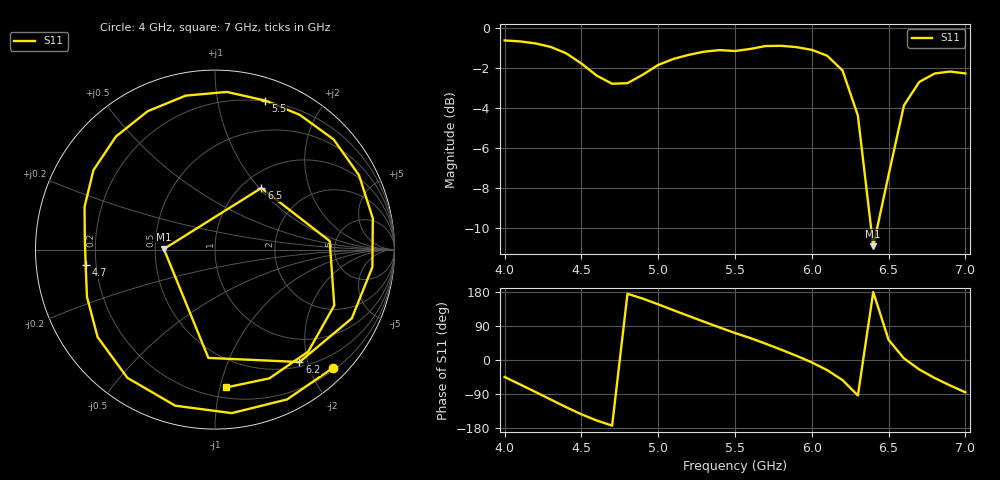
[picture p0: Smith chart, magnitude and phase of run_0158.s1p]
! Touchstone file exported from HFSS 2024.2.0
!  File:  C:/Users/wsak9/Desktop/Sim Fast/Widenad Patch/WP_AI_V1_sweep.aedt
!  Generated:  09:29:58 PM Oct 13, 2026
!  Design:  A1_model
!  Project:  WP_AI_V1_sweep
!  Setup:  Setup1
!  Solution:  Sweep
! Variables:
!  Air_gap = 1.62mm
!  Curve_Amp1 = 1.3
!  Curve_len1 = 1
!  Curve_pos = 9.625mm
!  Extra = 6.31mm
!  H_sub = 0.79mm
!  L_Patch = 15.25mm
!  L_Patch1 = 20.19mm
!  Sx = 1.21mm
!  Sy = 3.47mm
!  WS = 1.04mm
!  W_Patch = 18.73mm
!  W_Patch1 = 13.88mm
!Data is not renormalized
# GHz S MA
! Terminal data exported
! Port[1] = 1
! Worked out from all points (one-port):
!   31 points, 4 GHz to 7 GHz, reference per port
!   lowest |S11| = -10.9 dB at 6.4 GHz (marker M1), VSWR 1.80
!   |S11| at or under -10 dB: 6.386 GHz to 6.425 GHz (39.32 MHz wide, 0.614 % of centre)
!   S11 on the Smith chart (normalised r, x): 4 GHz: 0.24, -2.40; 4.7 GHz: 0.16, -0.06; 5.5 GHz: 0.19, +1.38; 6.2 GHz: 0.57, -1.86; 6.5 GHz: 1.22, +1.03; 7 GHz: 0.28, -1.05
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4  0.9313 -44.9
4.1  0.9264 -64.3
4.2  0.9158 -84.1
4.3  0.8974 -104.3
4.4  0.8653 -124.4
4.5  0.8156 -143.3
4.7  0.7259 -173.2
4.8  0.7283 174.8
5  0.809 146.9
5.2  0.8575 115.9
5.3  0.8732 100.8
5.4  0.881 85.7
5.5  0.8764 71.3
5.6  0.887 57.9
5.7  0.9021 42.9
5.8  0.9031 27.3
5.9  0.8964 11.2
6  0.8822 -6.3
6.1  0.853 -26.7
6.2  0.7836 -53.1
6.3  0.6045 -93.5
6.4  0.2849 179.3
6.5  0.4294 53.1
6.6  0.6408 4.3
6.7  0.7336 -25.1
6.8  0.7699 -47.6
6.9  0.7787 -67.1
7  0.7703 -85.2
